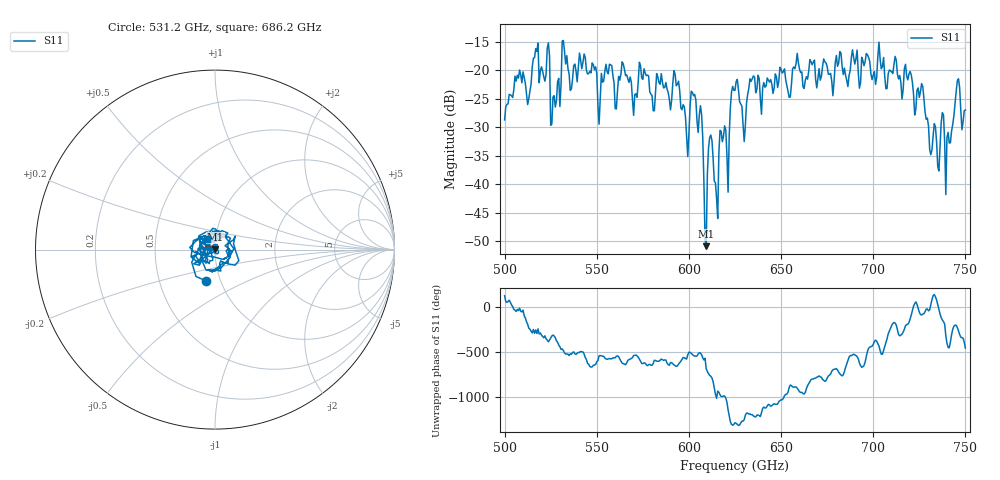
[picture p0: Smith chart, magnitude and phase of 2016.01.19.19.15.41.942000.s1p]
!Created with skrf (http://scikit-rf.org).
# GHz S RI R 50.0
!freq ReS11 ImS11
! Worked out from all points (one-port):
!   401 points, 500 GHz to 750 GHz, reference 50 ohm
!   lowest |S11| = -50.9 dB at 609.4 GHz (marker M1), VSWR 1.01, Z = 50.2 + j0.159 ohm
!   |S11| at or under -10 dB: start of sweep to end of sweep
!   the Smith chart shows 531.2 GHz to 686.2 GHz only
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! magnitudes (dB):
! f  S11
! 500 GHz  -28.7
! 506.9 GHz  -20.8
! 513.1 GHz  -25.0
! 516.9 GHz  -16.2
! 523.1 GHz  -16.1
! 526.2 GHz  -24.7
! 531.2 GHz  -14.9
! 548.8 GHz  -19.9
! 551.9 GHz  -25.2
! 562.5 GHz  -21.7
! 593.8 GHz  -22.4
! 598.8 GHz  -31.7
! 602.5 GHz  -24.4
! 606.2 GHz  -26.2
! 609.4 GHz  -50.9
! 611.2 GHz  -31.8
! 615 GHz  -42.4
! 617.5 GHz  -30.7
! 625 GHz  -23.5
! 629.4 GHz  -29.6
! 634.4 GHz  -21.4
! 656.2 GHz  -19.7
! 687.5 GHz  -20.0
! 718.8 GHz  -21.7
! 735 GHz  -36.9
! 740.6 GHz  -30.9
! 745.6 GHz  -21.8
! 750 GHz  -26.9
